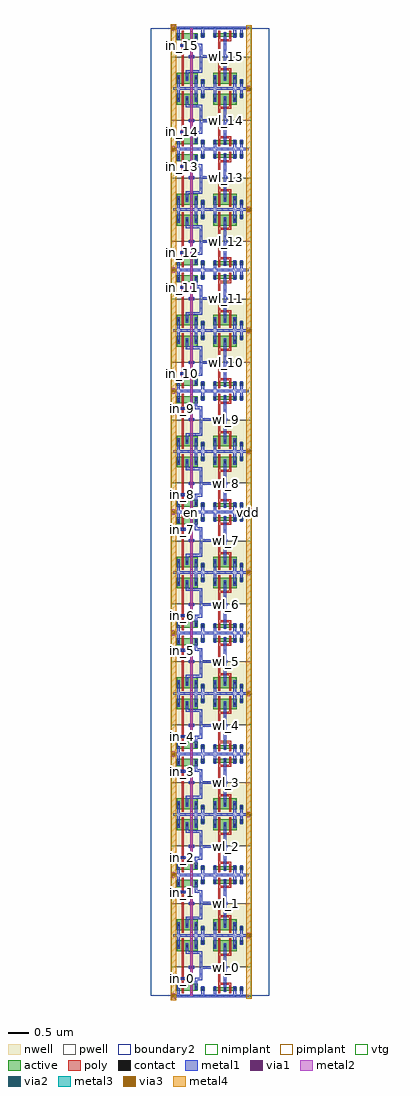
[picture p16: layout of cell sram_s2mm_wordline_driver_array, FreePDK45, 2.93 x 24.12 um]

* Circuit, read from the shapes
.subckt sram_s2mm_wordline_driver_array en gnd in_0 in_1 in_10 in_11 in_12 in_13 in_14 in_15 in_2 in_3 in_4 in_5 in_6 in_7 in_8 in_9 vdd wl_0 wl_1 wl_10 wl_11 wl_12 wl_13 wl_14 wl_15 wl_2 wl_3 wl_4 wl_5 wl_6 wl_7 wl_8 wl_9
M1 sram_s2mm_wordline_driver_0/sram_s2mm_pnand2_0/sram_s2mm_nmos_m1_w0_180_sm1_dactive_2/D in_0 gnd gnd nfet w=0.18u l=0.05u
M2 sram_s2mm_wordline_driver_1/sram_s2mm_pnand2_0/sram_s2mm_nmos_m1_w0_180_sm1_dactive_2/D in_1 gnd gnd nfet w=0.18u l=0.05u
M3 sram_s2mm_wordline_driver_2/sram_s2mm_pnand2_0/sram_s2mm_nmos_m1_w0_180_sm1_dactive_2/D in_2 gnd gnd nfet w=0.18u l=0.05u
M4 sram_s2mm_wordline_driver_3/sram_s2mm_pnand2_0/sram_s2mm_nmos_m1_w0_180_sm1_dactive_2/D in_3 gnd gnd nfet w=0.18u l=0.05u
M5 sram_s2mm_wordline_driver_4/sram_s2mm_pnand2_0/sram_s2mm_nmos_m1_w0_180_sm1_dactive_2/D in_4 gnd gnd nfet w=0.18u l=0.05u
M6 sram_s2mm_wordline_driver_5/sram_s2mm_pnand2_0/sram_s2mm_nmos_m1_w0_180_sm1_dactive_2/D in_5 gnd gnd nfet w=0.18u l=0.05u
M7 sram_s2mm_wordline_driver_6/sram_s2mm_pnand2_0/sram_s2mm_nmos_m1_w0_180_sm1_dactive_2/D in_6 gnd gnd nfet w=0.18u l=0.05u
M8 sram_s2mm_wordline_driver_7/sram_s2mm_pnand2_0/sram_s2mm_nmos_m1_w0_180_sm1_dactive_2/D in_7 gnd gnd nfet w=0.18u l=0.05u
M9 sram_s2mm_wordline_driver_8/sram_s2mm_pnand2_0/sram_s2mm_nmos_m1_w0_180_sm1_dactive_2/D in_8 gnd gnd nfet w=0.18u l=0.05u
M10 sram_s2mm_wordline_driver_9/sram_s2mm_pnand2_0/sram_s2mm_nmos_m1_w0_180_sm1_dactive_2/D in_9 gnd gnd nfet w=0.18u l=0.05u
M11 sram_s2mm_wordline_driver_10/sram_s2mm_pnand2_0/sram_s2mm_nmos_m1_w0_180_sm1_dactive_2/D in_10 gnd gnd nfet w=0.18u l=0.05u
M12 sram_s2mm_wordline_driver_11/sram_s2mm_pnand2_0/sram_s2mm_nmos_m1_w0_180_sm1_dactive_2/D in_11 gnd gnd nfet w=0.18u l=0.05u
M13 sram_s2mm_wordline_driver_12/sram_s2mm_pnand2_0/sram_s2mm_nmos_m1_w0_180_sm1_dactive_2/D in_12 gnd gnd nfet w=0.18u l=0.05u
M14 sram_s2mm_wordline_driver_13/sram_s2mm_pnand2_0/sram_s2mm_nmos_m1_w0_180_sm1_dactive_2/D in_13 gnd gnd nfet w=0.18u l=0.05u
M15 sram_s2mm_wordline_driver_14/sram_s2mm_pnand2_0/sram_s2mm_nmos_m1_w0_180_sm1_dactive_2/D in_14 gnd gnd nfet w=0.18u l=0.05u
M16 sram_s2mm_wordline_driver_15/sram_s2mm_pnand2_0/sram_s2mm_nmos_m1_w0_180_sm1_dactive_2/D in_15 gnd gnd nfet w=0.18u l=0.05u
M17 sram_s2mm_wordline_driver_0/sram_s2mm_pinv_0_1/A en sram_s2mm_wordline_driver_0/sram_s2mm_pnand2_0/sram_s2mm_nmos_m1_w0_180_sm1_dactive_2/D gnd nfet w=0.18u l=0.05u
M18 sram_s2mm_wordline_driver_1/sram_s2mm_pinv_0_1/A en sram_s2mm_wordline_driver_1/sram_s2mm_pnand2_0/sram_s2mm_nmos_m1_w0_180_sm1_dactive_2/D gnd nfet w=0.18u l=0.05u
M19 sram_s2mm_wordline_driver_2/sram_s2mm_pinv_0_1/A en sram_s2mm_wordline_driver_2/sram_s2mm_pnand2_0/sram_s2mm_nmos_m1_w0_180_sm1_dactive_2/D gnd nfet w=0.18u l=0.05u
M20 sram_s2mm_wordline_driver_3/sram_s2mm_pinv_0_1/A en sram_s2mm_wordline_driver_3/sram_s2mm_pnand2_0/sram_s2mm_nmos_m1_w0_180_sm1_dactive_2/D gnd nfet w=0.18u l=0.05u
M21 sram_s2mm_wordline_driver_4/sram_s2mm_pinv_0_1/A en sram_s2mm_wordline_driver_4/sram_s2mm_pnand2_0/sram_s2mm_nmos_m1_w0_180_sm1_dactive_2/D gnd nfet w=0.18u l=0.05u
M22 sram_s2mm_wordline_driver_5/sram_s2mm_pinv_0_1/A en sram_s2mm_wordline_driver_5/sram_s2mm_pnand2_0/sram_s2mm_nmos_m1_w0_180_sm1_dactive_2/D gnd nfet w=0.18u l=0.05u
M23 sram_s2mm_wordline_driver_6/sram_s2mm_pinv_0_1/A en sram_s2mm_wordline_driver_6/sram_s2mm_pnand2_0/sram_s2mm_nmos_m1_w0_180_sm1_dactive_2/D gnd nfet w=0.18u l=0.05u
M24 sram_s2mm_wordline_driver_7/sram_s2mm_pinv_0_1/A en sram_s2mm_wordline_driver_7/sram_s2mm_pnand2_0/sram_s2mm_nmos_m1_w0_180_sm1_dactive_2/D gnd nfet w=0.18u l=0.05u
M25 sram_s2mm_wordline_driver_8/sram_s2mm_pinv_0_1/A en sram_s2mm_wordline_driver_8/sram_s2mm_pnand2_0/sram_s2mm_nmos_m1_w0_180_sm1_dactive_2/D gnd nfet w=0.18u l=0.05u
M26 sram_s2mm_wordline_driver_9/sram_s2mm_pinv_0_1/A en sram_s2mm_wordline_driver_9/sram_s2mm_pnand2_0/sram_s2mm_nmos_m1_w0_180_sm1_dactive_2/D gnd nfet w=0.18u l=0.05u
M27 sram_s2mm_wordline_driver_10/sram_s2mm_pinv_0_1/A en sram_s2mm_wordline_driver_10/sram_s2mm_pnand2_0/sram_s2mm_nmos_m1_w0_180_sm1_dactive_2/D gnd nfet w=0.18u l=0.05u
M28 sram_s2mm_wordline_driver_11/sram_s2mm_pinv_0_1/A en sram_s2mm_wordline_driver_11/sram_s2mm_pnand2_0/sram_s2mm_nmos_m1_w0_180_sm1_dactive_2/D gnd nfet w=0.18u l=0.05u
M29 sram_s2mm_wordline_driver_12/sram_s2mm_pinv_0_1/A en sram_s2mm_wordline_driver_12/sram_s2mm_pnand2_0/sram_s2mm_nmos_m1_w0_180_sm1_dactive_2/D gnd nfet w=0.18u l=0.05u
M30 sram_s2mm_wordline_driver_13/sram_s2mm_pinv_0_1/A en sram_s2mm_wordline_driver_13/sram_s2mm_pnand2_0/sram_s2mm_nmos_m1_w0_180_sm1_dactive_2/D gnd nfet w=0.18u l=0.05u
M31 sram_s2mm_wordline_driver_14/sram_s2mm_pinv_0_1/A en sram_s2mm_wordline_driver_14/sram_s2mm_pnand2_0/sram_s2mm_nmos_m1_w0_180_sm1_dactive_2/D gnd nfet w=0.18u l=0.05u
M32 sram_s2mm_wordline_driver_15/sram_s2mm_pinv_0_1/A en sram_s2mm_wordline_driver_15/sram_s2mm_pnand2_0/sram_s2mm_nmos_m1_w0_180_sm1_dactive_2/D gnd nfet w=0.18u l=0.05u
M33 wl_0 sram_s2mm_wordline_driver_0/sram_s2mm_pinv_0_1/A gnd gnd nfet w=0.09u l=0.05u m=2
M34 wl_1 sram_s2mm_wordline_driver_1/sram_s2mm_pinv_0_1/A gnd gnd nfet w=0.09u l=0.05u m=2
M35 wl_2 sram_s2mm_wordline_driver_2/sram_s2mm_pinv_0_1/A gnd gnd nfet w=0.09u l=0.05u m=2
M36 wl_3 sram_s2mm_wordline_driver_3/sram_s2mm_pinv_0_1/A gnd gnd nfet w=0.09u l=0.05u m=2
M37 wl_4 sram_s2mm_wordline_driver_4/sram_s2mm_pinv_0_1/A gnd gnd nfet w=0.09u l=0.05u m=2
M38 wl_5 sram_s2mm_wordline_driver_5/sram_s2mm_pinv_0_1/A gnd gnd nfet w=0.09u l=0.05u m=2
M39 wl_6 sram_s2mm_wordline_driver_6/sram_s2mm_pinv_0_1/A gnd gnd nfet w=0.09u l=0.05u m=2
M40 wl_7 sram_s2mm_wordline_driver_7/sram_s2mm_pinv_0_1/A gnd gnd nfet w=0.09u l=0.05u m=2
M41 wl_8 sram_s2mm_wordline_driver_8/sram_s2mm_pinv_0_1/A gnd gnd nfet w=0.09u l=0.05u m=2
M42 wl_9 sram_s2mm_wordline_driver_9/sram_s2mm_pinv_0_1/A gnd gnd nfet w=0.09u l=0.05u m=2
M43 wl_10 sram_s2mm_wordline_driver_10/sram_s2mm_pinv_0_1/A gnd gnd nfet w=0.09u l=0.05u m=2
M44 wl_11 sram_s2mm_wordline_driver_11/sram_s2mm_pinv_0_1/A gnd gnd nfet w=0.09u l=0.05u m=2
M45 wl_12 sram_s2mm_wordline_driver_12/sram_s2mm_pinv_0_1/A gnd gnd nfet w=0.09u l=0.05u m=2
M46 wl_13 sram_s2mm_wordline_driver_13/sram_s2mm_pinv_0_1/A gnd gnd nfet w=0.09u l=0.05u m=2
M47 wl_14 sram_s2mm_wordline_driver_14/sram_s2mm_pinv_0_1/A gnd gnd nfet w=0.09u l=0.05u m=2
M48 wl_15 sram_s2mm_wordline_driver_15/sram_s2mm_pinv_0_1/A gnd gnd nfet w=0.09u l=0.05u m=2
M49 sram_s2mm_wordline_driver_0/sram_s2mm_pinv_0_1/A in_0 vdd vdd pfet w=0.27u l=0.05u
M50 sram_s2mm_wordline_driver_1/sram_s2mm_pinv_0_1/A in_1 vdd vdd pfet w=0.27u l=0.05u
M51 sram_s2mm_wordline_driver_2/sram_s2mm_pinv_0_1/A in_2 vdd vdd pfet w=0.27u l=0.05u
M52 sram_s2mm_wordline_driver_3/sram_s2mm_pinv_0_1/A in_3 vdd vdd pfet w=0.27u l=0.05u
M53 sram_s2mm_wordline_driver_4/sram_s2mm_pinv_0_1/A in_4 vdd vdd pfet w=0.27u l=0.05u
M54 sram_s2mm_wordline_driver_5/sram_s2mm_pinv_0_1/A in_5 vdd vdd pfet w=0.27u l=0.05u
M55 sram_s2mm_wordline_driver_6/sram_s2mm_pinv_0_1/A in_6 vdd vdd pfet w=0.27u l=0.05u
M56 sram_s2mm_wordline_driver_7/sram_s2mm_pinv_0_1/A in_7 vdd vdd pfet w=0.27u l=0.05u
M57 sram_s2mm_wordline_driver_8/sram_s2mm_pinv_0_1/A in_8 vdd vdd pfet w=0.27u l=0.05u
M58 sram_s2mm_wordline_driver_9/sram_s2mm_pinv_0_1/A in_9 vdd vdd pfet w=0.27u l=0.05u
M59 sram_s2mm_wordline_driver_10/sram_s2mm_pinv_0_1/A in_10 vdd vdd pfet w=0.27u l=0.05u
M60 sram_s2mm_wordline_driver_11/sram_s2mm_pinv_0_1/A in_11 vdd vdd pfet w=0.27u l=0.05u
M61 sram_s2mm_wordline_driver_12/sram_s2mm_pinv_0_1/A in_12 vdd vdd pfet w=0.27u l=0.05u
M62 sram_s2mm_wordline_driver_13/sram_s2mm_pinv_0_1/A in_13 vdd vdd pfet w=0.27u l=0.05u
M63 sram_s2mm_wordline_driver_14/sram_s2mm_pinv_0_1/A in_14 vdd vdd pfet w=0.27u l=0.05u
M64 sram_s2mm_wordline_driver_15/sram_s2mm_pinv_0_1/A in_15 vdd vdd pfet w=0.27u l=0.05u
M65 vdd en sram_s2mm_wordline_driver_0/sram_s2mm_pinv_0_1/A vdd pfet w=0.27u l=0.05u
M66 vdd en sram_s2mm_wordline_driver_1/sram_s2mm_pinv_0_1/A vdd pfet w=0.27u l=0.05u
M67 vdd en sram_s2mm_wordline_driver_2/sram_s2mm_pinv_0_1/A vdd pfet w=0.27u l=0.05u
M68 vdd en sram_s2mm_wordline_driver_3/sram_s2mm_pinv_0_1/A vdd pfet w=0.27u l=0.05u
M69 vdd en sram_s2mm_wordline_driver_4/sram_s2mm_pinv_0_1/A vdd pfet w=0.27u l=0.05u
M70 vdd en sram_s2mm_wordline_driver_5/sram_s2mm_pinv_0_1/A vdd pfet w=0.27u l=0.05u
M71 vdd en sram_s2mm_wordline_driver_6/sram_s2mm_pinv_0_1/A vdd pfet w=0.27u l=0.05u
M72 vdd en sram_s2mm_wordline_driver_7/sram_s2mm_pinv_0_1/A vdd pfet w=0.27u l=0.05u
M73 vdd en sram_s2mm_wordline_driver_8/sram_s2mm_pinv_0_1/A vdd pfet w=0.27u l=0.05u
M74 vdd en sram_s2mm_wordline_driver_9/sram_s2mm_pinv_0_1/A vdd pfet w=0.27u l=0.05u
M75 vdd en sram_s2mm_wordline_driver_10/sram_s2mm_pinv_0_1/A vdd pfet w=0.27u l=0.05u
M76 vdd en sram_s2mm_wordline_driver_11/sram_s2mm_pinv_0_1/A vdd pfet w=0.27u l=0.05u
M77 vdd en sram_s2mm_wordline_driver_12/sram_s2mm_pinv_0_1/A vdd pfet w=0.27u l=0.05u
M78 vdd en sram_s2mm_wordline_driver_13/sram_s2mm_pinv_0_1/A vdd pfet w=0.27u l=0.05u
M79 vdd en sram_s2mm_wordline_driver_14/sram_s2mm_pinv_0_1/A vdd pfet w=0.27u l=0.05u
M80 vdd en sram_s2mm_wordline_driver_15/sram_s2mm_pinv_0_1/A vdd pfet w=0.27u l=0.05u
M81 wl_0 sram_s2mm_wordline_driver_0/sram_s2mm_pinv_0_1/A vdd vdd pfet w=0.27u l=0.05u m=2
M82 wl_1 sram_s2mm_wordline_driver_1/sram_s2mm_pinv_0_1/A vdd vdd pfet w=0.27u l=0.05u m=2
M83 wl_2 sram_s2mm_wordline_driver_2/sram_s2mm_pinv_0_1/A vdd vdd pfet w=0.27u l=0.05u m=2
M84 wl_3 sram_s2mm_wordline_driver_3/sram_s2mm_pinv_0_1/A vdd vdd pfet w=0.27u l=0.05u m=2
M85 wl_4 sram_s2mm_wordline_driver_4/sram_s2mm_pinv_0_1/A vdd vdd pfet w=0.27u l=0.05u m=2
M86 wl_5 sram_s2mm_wordline_driver_5/sram_s2mm_pinv_0_1/A vdd vdd pfet w=0.27u l=0.05u m=2
M87 wl_6 sram_s2mm_wordline_driver_6/sram_s2mm_pinv_0_1/A vdd vdd pfet w=0.27u l=0.05u m=2
M88 wl_7 sram_s2mm_wordline_driver_7/sram_s2mm_pinv_0_1/A vdd vdd pfet w=0.27u l=0.05u m=2
M89 wl_8 sram_s2mm_wordline_driver_8/sram_s2mm_pinv_0_1/A vdd vdd pfet w=0.27u l=0.05u m=2
M90 wl_9 sram_s2mm_wordline_driver_9/sram_s2mm_pinv_0_1/A vdd vdd pfet w=0.27u l=0.05u m=2
M91 wl_10 sram_s2mm_wordline_driver_10/sram_s2mm_pinv_0_1/A vdd vdd pfet w=0.27u l=0.05u m=2
M92 wl_11 sram_s2mm_wordline_driver_11/sram_s2mm_pinv_0_1/A vdd vdd pfet w=0.27u l=0.05u m=2
M93 wl_12 sram_s2mm_wordline_driver_12/sram_s2mm_pinv_0_1/A vdd vdd pfet w=0.27u l=0.05u m=2
M94 wl_13 sram_s2mm_wordline_driver_13/sram_s2mm_pinv_0_1/A vdd vdd pfet w=0.27u l=0.05u m=2
M95 wl_14 sram_s2mm_wordline_driver_14/sram_s2mm_pinv_0_1/A vdd vdd pfet w=0.27u l=0.05u m=2
M96 wl_15 sram_s2mm_wordline_driver_15/sram_s2mm_pinv_0_1/A vdd vdd pfet w=0.27u l=0.05u m=2
.ends

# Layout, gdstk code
import gdstk
lib = gdstk.Library(unit=1e-6, precision=5e-10)
def R(c, l, rs):  # rectangles x0, y0, x1, y1
    for r in rs: c.add(gdstk.rectangle(r[:2], r[2:], *l))
def A(c, l, x, y, w, h, nx, ny, dx, dy):  # array of equal rectangles
    R(c, l, [(x+i*dx, y+j*dy, x+i*dx+w, y+j*dy+h) for i in range(nx) for j in range(ny)])
active = (1, 0)
pwell = (2, 0)
nwell = (3, 0)
nimplant = (4, 0)
pimplant = (5, 0)
vtg = (6, 0)
poly = (9, 0)
contact = (10, 0)
metal1 = (11, 0)
via1 = (12, 0)
metal2 = (13, 0)
via2 = (14, 0)
metal3 = (15, 0)
via3 = (16, 0)
metal4 = (17, 0)
boundary2 = (239, 0)

sram_s2mm_contact_11 = lib.new_cell('sram_s2mm_contact_11')
R(sram_s2mm_contact_11, active, [(0,0.0225,0.09,0.1125)])
R(sram_s2mm_contact_11, nwell, [(-0.055,-0.0325,0.145,0.1675)])
R(sram_s2mm_contact_11, pimplant, [(0,0.0225,0.09,0.1125)])
R(sram_s2mm_contact_11, contact, [(0.0125,0.035,0.0775,0.1)])
R(sram_s2mm_contact_11, metal1, [(0.0125,0,0.0775,0.135)])
R(sram_s2mm_contact_11, boundary2, [(-0.055,-0.0325,0.145,0.1675)])

sram_s2mm_pmos_m1_w0_270 = lib.new_cell('sram_s2mm_pmos_m1_w0_270_sm1_dm1')
R(sram_s2mm_pmos_m1_w0_270, active, [(0,0,0.305,0.27)])
R(sram_s2mm_pmos_m1_w0_270, nwell, [(-0.08,-0.08,0.385,0.35)])
R(sram_s2mm_pmos_m1_w0_270, pimplant, [(0,0,0.305,0.27)])
R(sram_s2mm_pmos_m1_w0_270, vtg, [(-0.08,-0.08,0.385,0.35)])
R(sram_s2mm_pmos_m1_w0_270, poly, [(0.1275,-0.055,0.1775,0.325), (0.1275,-0.055,0.1775,0.325)])
R(sram_s2mm_pmos_m1_w0_270, metal1, [(0.0125,0.0675,0.0775,0.2025), (0.2275,0.0675,0.2925,0.2025)])
R(sram_s2mm_pmos_m1_w0_270, boundary2, [(-0.08,-0.08,0.385,0.35)])
sram_s2mm_pmos_m1_w0_270.add(gdstk.Reference(sram_s2mm_contact_11, (0,0.0675)))
sram_s2mm_pmos_m1_w0_270.add(gdstk.Reference(sram_s2mm_contact_11, (0.215,0.0675)))
sram_s2mm_pmos_m1_w0_270.add(gdstk.Label('G', (0.1525,0.135), layer=9, texttype=0))
sram_s2mm_pmos_m1_w0_270.add(gdstk.Label('S', (0.045,0.135), layer=11, texttype=0))
sram_s2mm_pmos_m1_w0_270.add(gdstk.Label('D', (0.26,0.135), layer=11, texttype=0))

sram_s2mm_contact_10 = lib.new_cell('sram_s2mm_contact_10')
R(sram_s2mm_contact_10, active, [(0,0.0225,0.09,0.1125)])
R(sram_s2mm_contact_10, pwell, [(-0.055,-0.0325,0.145,0.1675)])
R(sram_s2mm_contact_10, nimplant, [(0,0.0225,0.09,0.1125)])
R(sram_s2mm_contact_10, contact, [(0.0125,0.035,0.0775,0.1)])
R(sram_s2mm_contact_10, metal1, [(0.0125,0,0.0775,0.135)])
R(sram_s2mm_contact_10, boundary2, [(-0.055,-0.0325,0.145,0.1675)])

sram_s2mm_nmos_m1_w0_180 = lib.new_cell('sram_s2mm_nmos_m1_w0_180_sm1_dactive')
R(sram_s2mm_nmos_m1_w0_180, active, [(0,0,0.305,0.18), (0.215,0.045,0.305,0.135)])
R(sram_s2mm_nmos_m1_w0_180, pwell, [(-0.08,-0.08,0.385,0.26)])
R(sram_s2mm_nmos_m1_w0_180, nimplant, [(0,0,0.305,0.18)])
R(sram_s2mm_nmos_m1_w0_180, vtg, [(-0.08,-0.08,0.385,0.26)])
R(sram_s2mm_nmos_m1_w0_180, poly, [(0.1275,-0.055,0.1775,0.235), (0.1275,-0.055,0.1775,0.235)])
R(sram_s2mm_nmos_m1_w0_180, metal1, [(0.0125,0.0225,0.0775,0.1575)])
R(sram_s2mm_nmos_m1_w0_180, boundary2, [(-0.08,-0.08,0.385,0.26)])
sram_s2mm_nmos_m1_w0_180.add(gdstk.Reference(sram_s2mm_contact_10, (0,0.0225)))
sram_s2mm_nmos_m1_w0_180.add(gdstk.Label('G', (0.1525,0.09), layer=9, texttype=0))
sram_s2mm_nmos_m1_w0_180.add(gdstk.Label('S', (0.045,0.09), layer=11, texttype=0))
sram_s2mm_nmos_m1_w0_180.add(gdstk.Label('D', (0.26,0.09), layer=1, texttype=0))

c_sram_s2mm_nmos_m1_w0_180 = lib.new_cell('sram_s2mm_nmos_m1_w0_180_sactive_dm1')
R(c_sram_s2mm_nmos_m1_w0_180, active, [(0,0,0.305,0.18), (0,0.045,0.09,0.135)])
R(c_sram_s2mm_nmos_m1_w0_180, pwell, [(-0.08,-0.08,0.385,0.26)])
R(c_sram_s2mm_nmos_m1_w0_180, nimplant, [(0,0,0.305,0.18)])
R(c_sram_s2mm_nmos_m1_w0_180, vtg, [(-0.08,-0.08,0.385,0.26)])
R(c_sram_s2mm_nmos_m1_w0_180, poly, [(0.1275,-0.055,0.1775,0.235), (0.1275,-0.055,0.1775,0.235)])
R(c_sram_s2mm_nmos_m1_w0_180, metal1, [(0.2275,0.0225,0.2925,0.1575)])
R(c_sram_s2mm_nmos_m1_w0_180, boundary2, [(-0.08,-0.08,0.385,0.26)])
c_sram_s2mm_nmos_m1_w0_180.add(gdstk.Reference(sram_s2mm_contact_10, (0.215,0.0225)))
c_sram_s2mm_nmos_m1_w0_180.add(gdstk.Label('G', (0.1525,0.09), layer=9, texttype=0))
c_sram_s2mm_nmos_m1_w0_180.add(gdstk.Label('S', (0.045,0.09), layer=1, texttype=0))
c_sram_s2mm_nmos_m1_w0_180.add(gdstk.Label('D', (0.26,0.09), layer=11, texttype=0))

sram_s2mm_contact_12 = lib.new_cell('sram_s2mm_contact_12')
R(sram_s2mm_contact_12, active, [(0,0.0225,0.09,0.1125)])
R(sram_s2mm_contact_12, nwell, [(-0.055,-0.0325,0.145,0.1675)])
R(sram_s2mm_contact_12, nimplant, [(0,0.0225,0.09,0.1125)])
R(sram_s2mm_contact_12, contact, [(0.0125,0.035,0.0775,0.1)])
R(sram_s2mm_contact_12, metal1, [(0.0125,0,0.0775,0.135)])
R(sram_s2mm_contact_12, boundary2, [(-0.055,-0.0325,0.145,0.1675)])

sram_s2mm_contact_13 = lib.new_cell('sram_s2mm_contact_13')
R(sram_s2mm_contact_13, active, [(0,0.0225,0.09,0.1125)])
R(sram_s2mm_contact_13, pwell, [(-0.055,-0.0325,0.145,0.1675)])
R(sram_s2mm_contact_13, pimplant, [(0,0.0225,0.09,0.1125)])
R(sram_s2mm_contact_13, contact, [(0.0125,0.035,0.0775,0.1)])
R(sram_s2mm_contact_13, metal1, [(0.0125,0,0.0775,0.135)])
R(sram_s2mm_contact_13, boundary2, [(-0.055,-0.0325,0.145,0.1675)])

sram_s2mm_contact_14 = lib.new_cell('sram_s2mm_contact_14')
R(sram_s2mm_contact_14, poly, [(0.03,0,0.105,0.075)])
R(sram_s2mm_contact_14, contact, [(0.035,0.005,0.1,0.07)])
R(sram_s2mm_contact_14, metal1, [(0,0.005,0.135,0.07)])
R(sram_s2mm_contact_14, boundary2, [(0,0,0.135,0.075)])

sram_s2mm_pnand2 = lib.new_cell('sram_s2mm_pnand2')
R(sram_s2mm_pnand2, pwell, [(-0.055,-0.0325,0.9575,0.7175)])
R(sram_s2mm_pnand2, nwell, [(-0.055,0.7175,0.9575,1.53)])
R(sram_s2mm_pnand2, vtg, [(-0.055,-0.0325,0.9575,0.7175), (-0.055,0.7175,0.9575,1.53)])
R(sram_s2mm_pnand2, poly, [(0.2075,0.36,0.2575,1.045), (0.4225,0.36,0.4725,1.045), (0.2075,0.39,0.2325,0.465), (0.4225,0.67,0.4475,0.745)])
R(sram_s2mm_pnand2, metal1, [(0,-0.0325,0.9025,0.0325), (0.0925,-0.0325,0.1575,0.1475), (0.6925,0,0.7575,0.17), (0.5225,0.2825,0.5875,0.4125), (0.5225,0.38,0.5875,0.445), (0.555,0.38,0.685,0.445), (0.6525,0.38,0.7175,0.445), (0.165,0.395,0.3,0.46), (0.6525,0.4125,0.7175,1.07), (0.38,0.675,0.515,0.74), (0.3075,1.0375,0.3725,1.1025), (0.34,1.0375,0.685,1.1025), (0.6525,1.0375,0.7175,1.1025), (0.3075,1.07,0.3725,1.1675), (0.0925,1.1675,0.1575,1.5275), (0.5225,1.1675,0.5875,1.5275), (0.6925,1.325,0.7575,1.495), (0,1.4625,0.9025,1.5275)])
R(sram_s2mm_pnand2, boundary2, [(0,0,0.9025,1.495), (0,0,0.9025,1.495)])
sram_s2mm_pnand2.add(gdstk.Reference(sram_s2mm_pmos_m1_w0_270, (0.08,1.1)))
sram_s2mm_pnand2.add(gdstk.Reference(sram_s2mm_pmos_m1_w0_270, (0.295,1.1)))
sram_s2mm_pnand2.add(gdstk.Reference(sram_s2mm_nmos_m1_w0_180, (0.08,0.125)))
sram_s2mm_pnand2.add(gdstk.Reference(c_sram_s2mm_nmos_m1_w0_180, (0.295,0.125)))
sram_s2mm_pnand2.add(gdstk.Reference(sram_s2mm_contact_12, (0.68,1.2575)))
sram_s2mm_pnand2.add(gdstk.Reference(sram_s2mm_contact_13, (0.68,0.1025)))
sram_s2mm_pnand2.add(gdstk.Reference(sram_s2mm_contact_14, (0.165,0.39)))
sram_s2mm_pnand2.add(gdstk.Reference(sram_s2mm_contact_14, (0.38,0.67)))
sram_s2mm_pnand2.add(gdstk.Label('Z', (0.685,1.07), layer=11, texttype=0))
sram_s2mm_pnand2.add(gdstk.Label('gnd', (0.451,0), layer=11, texttype=0))
sram_s2mm_pnand2.add(gdstk.Label('vdd', (0.451,1.495), layer=11, texttype=0))
sram_s2mm_pnand2.add(gdstk.Label('A', (0.2325,0.4275), layer=11, texttype=0))
sram_s2mm_pnand2.add(gdstk.Label('B', (0.4475,0.7075), layer=11, texttype=0))

sram_s2mm_pmos_m2_w0_270 = lib.new_cell('sram_s2mm_pmos_m2_w0_270_sm1_dm1_da_p')
R(sram_s2mm_pmos_m2_w0_270, active, [(0,0,0.58,0.27)])
R(sram_s2mm_pmos_m2_w0_270, nwell, [(-0.08,-0.08,0.66,0.35)])
R(sram_s2mm_pmos_m2_w0_270, pimplant, [(0,0,0.58,0.27)])
R(sram_s2mm_pmos_m2_w0_270, vtg, [(-0.08,-0.08,0.66,0.35)])
R(sram_s2mm_pmos_m2_w0_270, poly, [(0.1275,-0.105,0.4525,-0.055), (0.1275,-0.055,0.1775,0.325), (0.4025,-0.055,0.4525,0.325)])
A(sram_s2mm_pmos_m2_w0_270, metal1, 0.0125, 0.0675, 0.065, 0.135, 3, 1, 0.245, 0)
R(sram_s2mm_pmos_m2_w0_270, boundary2, [(-0.08,-0.105,0.66,0.35)])
sram_s2mm_pmos_m2_w0_270.add(gdstk.Reference(sram_s2mm_contact_11, (0,0.0675)))
sram_s2mm_pmos_m2_w0_270.add(gdstk.Reference(sram_s2mm_contact_11, (0.245,0.0675)))
sram_s2mm_pmos_m2_w0_270.add(gdstk.Reference(sram_s2mm_contact_11, (0.49,0.0675)))
sram_s2mm_pmos_m2_w0_270.add(gdstk.Label('G', (0.29,-0.08), layer=9, texttype=0))
sram_s2mm_pmos_m2_w0_270.add(gdstk.Label('S', (0.535,0.135), layer=11, texttype=0))
sram_s2mm_pmos_m2_w0_270.add(gdstk.Label('S', (0.045,0.135), layer=11, texttype=0))
sram_s2mm_pmos_m2_w0_270.add(gdstk.Label('D', (0.29,0.135), layer=11, texttype=0))

sram_s2mm_nmos_m2_w0_090 = lib.new_cell('sram_s2mm_nmos_m2_w0_090_sm1_dm1_da_p')
R(sram_s2mm_nmos_m2_w0_090, active, [(0,0,0.58,0.09)])
R(sram_s2mm_nmos_m2_w0_090, pwell, [(-0.08,-0.08,0.66,0.17)])
R(sram_s2mm_nmos_m2_w0_090, nimplant, [(0,0,0.58,0.09)])
R(sram_s2mm_nmos_m2_w0_090, vtg, [(-0.08,-0.08,0.66,0.17)])
R(sram_s2mm_nmos_m2_w0_090, poly, [(0.1275,-0.055,0.1775,0.145), (0.4025,-0.055,0.4525,0.145), (0.1275,0.145,0.4525,0.195)])
A(sram_s2mm_nmos_m2_w0_090, metal1, 0.0125, -0.0225, 0.065, 0.135, 3, 1, 0.245, 0)
R(sram_s2mm_nmos_m2_w0_090, boundary2, [(-0.08,-0.08,0.66,0.195)])
sram_s2mm_nmos_m2_w0_090.add(gdstk.Reference(sram_s2mm_contact_10, (0,-0.0225)))
sram_s2mm_nmos_m2_w0_090.add(gdstk.Reference(sram_s2mm_contact_10, (0.245,-0.0225)))
sram_s2mm_nmos_m2_w0_090.add(gdstk.Reference(sram_s2mm_contact_10, (0.49,-0.0225)))
sram_s2mm_nmos_m2_w0_090.add(gdstk.Label('G', (0.29,0.17), layer=9, texttype=0))
sram_s2mm_nmos_m2_w0_090.add(gdstk.Label('S', (0.535,0.045), layer=11, texttype=0))
sram_s2mm_nmos_m2_w0_090.add(gdstk.Label('S', (0.045,0.045), layer=11, texttype=0))
sram_s2mm_nmos_m2_w0_090.add(gdstk.Label('D', (0.29,0.045), layer=11, texttype=0))

sram_s2mm_pinv_0 = lib.new_cell('sram_s2mm_pinv_0')
R(sram_s2mm_pinv_0, pwell, [(-0.055,-0.0325,1.0175,0.7175)])
R(sram_s2mm_pinv_0, nwell, [(-0.055,0.7175,1.0175,1.53)])
R(sram_s2mm_pinv_0, vtg, [(-0.055,-0.0325,1.0175,0.7175), (-0.055,0.7175,1.0175,1.53)])
R(sram_s2mm_pinv_0, poly, [(0.2075,0.32,0.2575,0.995), (0.14,0.665,0.2075,0.74)])
R(sram_s2mm_pinv_0, metal1, [(0,-0.0325,0.9625,0.0325), (0.0925,-0.0325,0.1575,0.1025), (0.5825,-0.0325,0.6475,0.1025), (0.7525,0,0.8175,0.17), (0.3375,0.1025,0.4025,1.3025), (0.0725,0.67,0.2075,0.735), (0.37,0.67,0.435,0.735), (0.0925,1.1675,0.1575,1.5275), (0.5825,1.1675,0.6475,1.5275), (0.7525,1.325,0.8175,1.495), (0,1.4625,0.9625,1.5275)])
R(sram_s2mm_pinv_0, boundary2, [(0,0,0.9625,1.495), (0,0,0.9625,1.495)])
sram_s2mm_pinv_0.add(gdstk.Reference(sram_s2mm_pmos_m2_w0_270, (0.08,1.1)))
sram_s2mm_pinv_0.add(gdstk.Reference(sram_s2mm_nmos_m2_w0_090, (0.08,0.125)))
sram_s2mm_pinv_0.add(gdstk.Reference(sram_s2mm_contact_12, (0.74,1.2575)))
sram_s2mm_pinv_0.add(gdstk.Reference(sram_s2mm_contact_13, (0.74,0.1025)))
sram_s2mm_pinv_0.add(gdstk.Reference(sram_s2mm_contact_14, (0.0725,0.665)))
sram_s2mm_pinv_0.add(gdstk.Label('A', (0.14,0.7025), layer=11, texttype=0))
sram_s2mm_pinv_0.add(gdstk.Label('Z', (0.4025,0.7025), layer=11, texttype=0))
sram_s2mm_pinv_0.add(gdstk.Label('gnd', (0.481,0), layer=11, texttype=0))
sram_s2mm_pinv_0.add(gdstk.Label('vdd', (0.481,1.495), layer=11, texttype=0))

sram_s2mm_wordline_drive = lib.new_cell('sram_s2mm_wordline_driver')
R(sram_s2mm_wordline_drive, metal1, [(0,-0.0325,1.865,0.0325), (0.165,0.395,0.3,0.46), (0.6525,0.67,0.7175,0.735), (0.685,0.67,1.0425,0.735), (1.2725,0.67,1.3375,0.735), (0.38,0.675,0.515,0.74), (0.6525,0.7025,0.7175,1.07), (0,1.4625,1.865,1.5275)])
R(sram_s2mm_wordline_drive, boundary2, [(0,0,1.865,1.495)])
sram_s2mm_wordline_drive.add(gdstk.Reference(sram_s2mm_pnand2, (0,0)))
sram_s2mm_wordline_drive.add(gdstk.Reference(sram_s2mm_pinv_0, (0.9025,0)))
sram_s2mm_wordline_drive.add(gdstk.Label('Z', (1.305,0.7025), layer=11, texttype=0))
sram_s2mm_wordline_drive.add(gdstk.Label('A', (0.2325,0.4275), layer=11, texttype=0))
sram_s2mm_wordline_drive.add(gdstk.Label('B', (0.4475,0.7075), layer=11, texttype=0))
sram_s2mm_wordline_drive.add(gdstk.Label('gnd', (0.9325,0), layer=11, texttype=0))
sram_s2mm_wordline_drive.add(gdstk.Label('vdd', (0.9325,1.495), layer=11, texttype=0))

sram_s2mm_contact_17 = lib.new_cell('sram_s2mm_contact_17')
R(sram_s2mm_contact_17, metal1, [(0,0.035,0.135,0.1)])
R(sram_s2mm_contact_17, via1, [(0.035,0.035,0.1,0.1)])
R(sram_s2mm_contact_17, metal2, [(0.0325,0,0.1025,0.135)])
R(sram_s2mm_contact_17, boundary2, [(0,0,0.135,0.135)])

sram_s2mm_contact_18 = lib.new_cell('sram_s2mm_contact_18')
R(sram_s2mm_contact_18, metal2, [(0.0325,0,0.1025,0.135)])
R(sram_s2mm_contact_18, via2, [(0.035,0.035,0.1,0.1)])
R(sram_s2mm_contact_18, metal3, [(0,0.0325,0.135,0.1025)])
R(sram_s2mm_contact_18, boundary2, [(0,0,0.135,0.135)])

sram_s2mm_contact_21 = lib.new_cell('sram_s2mm_contact_21')
R(sram_s2mm_contact_21, metal3, [(0,0.035,0.14,0.105)])
R(sram_s2mm_contact_21, via3, [(0.035,0.035,0.105,0.105)])
R(sram_s2mm_contact_21, metal4, [(0,0,0.14,0.14)])
R(sram_s2mm_contact_21, boundary2, [(0,0,0.14,0.14)])

c_sram_s2mm_wordline_drive = lib.new_cell('sram_s2mm_wordline_driver_array')
R(c_sram_s2mm_wordline_drive, metal1, [(0.725,0.395,0.86,0.46), (1.8325,0.67,1.8975,0.735), (1.8325,2.255,1.8975,2.32), (0.725,2.53,0.86,2.595), (0.725,3.385,0.86,3.45), (1.8325,3.66,1.8975,3.725), (1.8325,5.245,1.8975,5.31), (0.725,5.52,0.86,5.585), (0.725,6.375,0.86,6.44), (1.8325,6.65,1.8975,6.715), (1.8325,8.235,1.8975,8.3), (0.725,8.51,0.86,8.575), (0.725,9.365,0.86,9.43), (1.8325,9.64,1.8975,9.705), (1.8325,11.225,1.8975,11.29), (0.725,11.5,0.86,11.565), (0.725,12.355,0.86,12.42), (1.8325,12.63,1.8975,12.695), (1.8325,14.215,1.8975,14.28), (0.725,14.49,0.86,14.555), (0.725,15.345,0.86,15.41), (1.8325,15.62,1.8975,15.685), (1.8325,17.205,1.8975,17.27), (0.725,17.48,0.86,17.545), (0.725,18.335,0.86,18.4), (1.8325,18.61,1.8975,18.675), (1.8325,20.195,1.8975,20.26), (0.725,20.47,0.86,20.535), (0.725,21.325,0.86,21.39), (1.8325,21.6,1.8975,21.665), (1.8325,23.185,1.8975,23.25), (0.725,23.46,0.86,23.525)])
R(c_sram_s2mm_wordline_drive, metal2, [(0.9725,0,1.0425,23.92)])
R(c_sram_s2mm_wordline_drive, metal4, [(0.49,-0.1025,0.63,24.0225), (2.355,-0.07,2.495,23.99)])
R(c_sram_s2mm_wordline_drive, boundary2, [(0,0,2.93,23.92)])
c_sram_s2mm_wordline_drive.add(gdstk.Reference(sram_s2mm_wordline_drive, (0.56,0)))
c_sram_s2mm_wordline_drive.add(gdstk.Reference(sram_s2mm_wordline_drive, (0.56,2.99), x_reflection=True))
c_sram_s2mm_wordline_drive.add(gdstk.Reference(sram_s2mm_wordline_drive, (0.56,2.99)))
c_sram_s2mm_wordline_drive.add(gdstk.Reference(sram_s2mm_wordline_drive, (0.56,5.98), x_reflection=True))
c_sram_s2mm_wordline_drive.add(gdstk.Reference(sram_s2mm_wordline_drive, (0.56,5.98)))
c_sram_s2mm_wordline_drive.add(gdstk.Reference(sram_s2mm_wordline_drive, (0.56,8.97), x_reflection=True))
c_sram_s2mm_wordline_drive.add(gdstk.Reference(sram_s2mm_wordline_drive, (0.56,8.97)))
c_sram_s2mm_wordline_drive.add(gdstk.Reference(sram_s2mm_wordline_drive, (0.56,11.96), x_reflection=True))
c_sram_s2mm_wordline_drive.add(gdstk.Reference(sram_s2mm_wordline_drive, (0.56,11.96)))
c_sram_s2mm_wordline_drive.add(gdstk.Reference(sram_s2mm_wordline_drive, (0.56,14.95), x_reflection=True))
c_sram_s2mm_wordline_drive.add(gdstk.Reference(sram_s2mm_wordline_drive, (0.56,14.95)))
c_sram_s2mm_wordline_drive.add(gdstk.Reference(sram_s2mm_wordline_drive, (0.56,17.94), x_reflection=True))
c_sram_s2mm_wordline_drive.add(gdstk.Reference(sram_s2mm_wordline_drive, (0.56,17.94)))
c_sram_s2mm_wordline_drive.add(gdstk.Reference(sram_s2mm_wordline_drive, (0.56,20.93), x_reflection=True))
c_sram_s2mm_wordline_drive.add(gdstk.Reference(sram_s2mm_wordline_drive, (0.56,20.93)))
c_sram_s2mm_wordline_drive.add(gdstk.Reference(sram_s2mm_wordline_drive, (0.56,23.92), x_reflection=True))
c_sram_s2mm_wordline_drive.add(gdstk.Reference(sram_s2mm_contact_17, (0.94,0.64)))
c_sram_s2mm_wordline_drive.add(gdstk.Reference(sram_s2mm_contact_17, (0.94,2.215)))
c_sram_s2mm_wordline_drive.add(gdstk.Reference(sram_s2mm_contact_17, (0.94,3.63)))
c_sram_s2mm_wordline_drive.add(gdstk.Reference(sram_s2mm_contact_17, (0.94,5.205)))
c_sram_s2mm_wordline_drive.add(gdstk.Reference(sram_s2mm_contact_17, (0.94,6.62)))
c_sram_s2mm_wordline_drive.add(gdstk.Reference(sram_s2mm_contact_17, (0.94,8.195)))
c_sram_s2mm_wordline_drive.add(gdstk.Reference(sram_s2mm_contact_17, (0.94,9.61)))
c_sram_s2mm_wordline_drive.add(gdstk.Reference(sram_s2mm_contact_17, (0.94,11.185)))
c_sram_s2mm_wordline_drive.add(gdstk.Reference(sram_s2mm_contact_17, (0.94,12.6)))
c_sram_s2mm_wordline_drive.add(gdstk.Reference(sram_s2mm_contact_17, (0.94,14.175)))
c_sram_s2mm_wordline_drive.add(gdstk.Reference(sram_s2mm_contact_17, (0.94,15.59)))
c_sram_s2mm_wordline_drive.add(gdstk.Reference(sram_s2mm_contact_17, (0.94,17.165)))
c_sram_s2mm_wordline_drive.add(gdstk.Reference(sram_s2mm_contact_17, (0.94,18.58)))
c_sram_s2mm_wordline_drive.add(gdstk.Reference(sram_s2mm_contact_17, (0.94,20.155)))
c_sram_s2mm_wordline_drive.add(gdstk.Reference(sram_s2mm_contact_17, (0.94,21.57)))
c_sram_s2mm_wordline_drive.add(gdstk.Reference(sram_s2mm_contact_17, (0.94,23.145)))
c_sram_s2mm_wordline_drive.add(gdstk.Reference(sram_s2mm_contact_17, (2.3575,1.4275)))
c_sram_s2mm_wordline_drive.add(gdstk.Reference(sram_s2mm_contact_18, (2.3575,1.4275)))
c_sram_s2mm_wordline_drive.add(gdstk.Reference(sram_s2mm_contact_21, (2.355,1.425)))
c_sram_s2mm_wordline_drive.add(gdstk.Reference(sram_s2mm_contact_17, (2.3575,1.4275)))
c_sram_s2mm_wordline_drive.add(gdstk.Reference(sram_s2mm_contact_18, (2.3575,1.4275)))
c_sram_s2mm_wordline_drive.add(gdstk.Reference(sram_s2mm_contact_21, (2.355,1.425)))
c_sram_s2mm_wordline_drive.add(gdstk.Reference(sram_s2mm_contact_17, (2.3575,4.4175)))
c_sram_s2mm_wordline_drive.add(gdstk.Reference(sram_s2mm_contact_18, (2.3575,4.4175)))
c_sram_s2mm_wordline_drive.add(gdstk.Reference(sram_s2mm_contact_21, (2.355,4.415)))
c_sram_s2mm_wordline_drive.add(gdstk.Reference(sram_s2mm_contact_17, (2.3575,4.4175)))
c_sram_s2mm_wordline_drive.add(gdstk.Reference(sram_s2mm_contact_18, (2.3575,4.4175)))
c_sram_s2mm_wordline_drive.add(gdstk.Reference(sram_s2mm_contact_21, (2.355,4.415)))
c_sram_s2mm_wordline_drive.add(gdstk.Reference(sram_s2mm_contact_17, (2.3575,7.4075)))
c_sram_s2mm_wordline_drive.add(gdstk.Reference(sram_s2mm_contact_18, (2.3575,7.4075)))
c_sram_s2mm_wordline_drive.add(gdstk.Reference(sram_s2mm_contact_21, (2.355,7.405)))
c_sram_s2mm_wordline_drive.add(gdstk.Reference(sram_s2mm_contact_17, (2.3575,7.4075)))
c_sram_s2mm_wordline_drive.add(gdstk.Reference(sram_s2mm_contact_18, (2.3575,7.4075)))
c_sram_s2mm_wordline_drive.add(gdstk.Reference(sram_s2mm_contact_21, (2.355,7.405)))
c_sram_s2mm_wordline_drive.add(gdstk.Reference(sram_s2mm_contact_17, (2.3575,10.3975)))
c_sram_s2mm_wordline_drive.add(gdstk.Reference(sram_s2mm_contact_18, (2.3575,10.3975)))
c_sram_s2mm_wordline_drive.add(gdstk.Reference(sram_s2mm_contact_21, (2.355,10.395)))
c_sram_s2mm_wordline_drive.add(gdstk.Reference(sram_s2mm_contact_17, (2.3575,10.3975)))
c_sram_s2mm_wordline_drive.add(gdstk.Reference(sram_s2mm_contact_18, (2.3575,10.3975)))
c_sram_s2mm_wordline_drive.add(gdstk.Reference(sram_s2mm_contact_21, (2.355,10.395)))
c_sram_s2mm_wordline_drive.add(gdstk.Reference(sram_s2mm_contact_17, (2.3575,13.3875)))
c_sram_s2mm_wordline_drive.add(gdstk.Reference(sram_s2mm_contact_18, (2.3575,13.3875)))
c_sram_s2mm_wordline_drive.add(gdstk.Reference(sram_s2mm_contact_21, (2.355,13.385)))
c_sram_s2mm_wordline_drive.add(gdstk.Reference(sram_s2mm_contact_17, (2.3575,13.3875)))
c_sram_s2mm_wordline_drive.add(gdstk.Reference(sram_s2mm_contact_18, (2.3575,13.3875)))
c_sram_s2mm_wordline_drive.add(gdstk.Reference(sram_s2mm_contact_21, (2.355,13.385)))
c_sram_s2mm_wordline_drive.add(gdstk.Reference(sram_s2mm_contact_17, (2.3575,16.3775)))
c_sram_s2mm_wordline_drive.add(gdstk.Reference(sram_s2mm_contact_18, (2.3575,16.3775)))
c_sram_s2mm_wordline_drive.add(gdstk.Reference(sram_s2mm_contact_21, (2.355,16.375)))
c_sram_s2mm_wordline_drive.add(gdstk.Reference(sram_s2mm_contact_17, (2.3575,16.3775)))
c_sram_s2mm_wordline_drive.add(gdstk.Reference(sram_s2mm_contact_18, (2.3575,16.3775)))
c_sram_s2mm_wordline_drive.add(gdstk.Reference(sram_s2mm_contact_21, (2.355,16.375)))
c_sram_s2mm_wordline_drive.add(gdstk.Reference(sram_s2mm_contact_17, (2.3575,19.3675)))
c_sram_s2mm_wordline_drive.add(gdstk.Reference(sram_s2mm_contact_18, (2.3575,19.3675)))
c_sram_s2mm_wordline_drive.add(gdstk.Reference(sram_s2mm_contact_21, (2.355,19.365)))
c_sram_s2mm_wordline_drive.add(gdstk.Reference(sram_s2mm_contact_17, (2.3575,19.3675)))
c_sram_s2mm_wordline_drive.add(gdstk.Reference(sram_s2mm_contact_18, (2.3575,19.3675)))
c_sram_s2mm_wordline_drive.add(gdstk.Reference(sram_s2mm_contact_21, (2.355,19.365)))
c_sram_s2mm_wordline_drive.add(gdstk.Reference(sram_s2mm_contact_17, (2.3575,22.3575)))
c_sram_s2mm_wordline_drive.add(gdstk.Reference(sram_s2mm_contact_18, (2.3575,22.3575)))
c_sram_s2mm_wordline_drive.add(gdstk.Reference(sram_s2mm_contact_21, (2.355,22.355)))
c_sram_s2mm_wordline_drive.add(gdstk.Reference(sram_s2mm_contact_17, (2.3575,22.3575)))
c_sram_s2mm_wordline_drive.add(gdstk.Reference(sram_s2mm_contact_18, (2.3575,22.3575)))
c_sram_s2mm_wordline_drive.add(gdstk.Reference(sram_s2mm_contact_21, (2.355,22.355)))
c_sram_s2mm_wordline_drive.add(gdstk.Reference(sram_s2mm_contact_17, (0.4925,-0.0675)))
c_sram_s2mm_wordline_drive.add(gdstk.Reference(sram_s2mm_contact_18, (0.4925,-0.0675)))
c_sram_s2mm_wordline_drive.add(gdstk.Reference(sram_s2mm_contact_21, (0.49,-0.07)))
c_sram_s2mm_wordline_drive.add(gdstk.Reference(sram_s2mm_contact_17, (0.4925,2.9225)))
c_sram_s2mm_wordline_drive.add(gdstk.Reference(sram_s2mm_contact_18, (0.4925,2.9225)))
c_sram_s2mm_wordline_drive.add(gdstk.Reference(sram_s2mm_contact_21, (0.49,2.92)))
c_sram_s2mm_wordline_drive.add(gdstk.Reference(sram_s2mm_contact_17, (0.4925,2.9225)))
c_sram_s2mm_wordline_drive.add(gdstk.Reference(sram_s2mm_contact_18, (0.4925,2.9225)))
c_sram_s2mm_wordline_drive.add(gdstk.Reference(sram_s2mm_contact_21, (0.49,2.92)))
c_sram_s2mm_wordline_drive.add(gdstk.Reference(sram_s2mm_contact_17, (0.4925,5.9125)))
c_sram_s2mm_wordline_drive.add(gdstk.Reference(sram_s2mm_contact_18, (0.4925,5.9125)))
c_sram_s2mm_wordline_drive.add(gdstk.Reference(sram_s2mm_contact_21, (0.49,5.91)))
c_sram_s2mm_wordline_drive.add(gdstk.Reference(sram_s2mm_contact_17, (0.4925,5.9125)))
c_sram_s2mm_wordline_drive.add(gdstk.Reference(sram_s2mm_contact_18, (0.4925,5.9125)))
c_sram_s2mm_wordline_drive.add(gdstk.Reference(sram_s2mm_contact_21, (0.49,5.91)))
c_sram_s2mm_wordline_drive.add(gdstk.Reference(sram_s2mm_contact_17, (0.4925,8.9025)))
c_sram_s2mm_wordline_drive.add(gdstk.Reference(sram_s2mm_contact_18, (0.4925,8.9025)))
c_sram_s2mm_wordline_drive.add(gdstk.Reference(sram_s2mm_contact_21, (0.49,8.9)))
c_sram_s2mm_wordline_drive.add(gdstk.Reference(sram_s2mm_contact_17, (0.4925,8.9025)))
c_sram_s2mm_wordline_drive.add(gdstk.Reference(sram_s2mm_contact_18, (0.4925,8.9025)))
c_sram_s2mm_wordline_drive.add(gdstk.Reference(sram_s2mm_contact_21, (0.49,8.9)))
c_sram_s2mm_wordline_drive.add(gdstk.Reference(sram_s2mm_contact_17, (0.4925,11.8925)))
c_sram_s2mm_wordline_drive.add(gdstk.Reference(sram_s2mm_contact_18, (0.4925,11.8925)))
c_sram_s2mm_wordline_drive.add(gdstk.Reference(sram_s2mm_contact_21, (0.49,11.89)))
c_sram_s2mm_wordline_drive.add(gdstk.Reference(sram_s2mm_contact_17, (0.4925,11.8925)))
c_sram_s2mm_wordline_drive.add(gdstk.Reference(sram_s2mm_contact_18, (0.4925,11.8925)))
c_sram_s2mm_wordline_drive.add(gdstk.Reference(sram_s2mm_contact_21, (0.49,11.89)))
c_sram_s2mm_wordline_drive.add(gdstk.Reference(sram_s2mm_contact_17, (0.4925,14.8825)))
c_sram_s2mm_wordline_drive.add(gdstk.Reference(sram_s2mm_contact_18, (0.4925,14.8825)))
c_sram_s2mm_wordline_drive.add(gdstk.Reference(sram_s2mm_contact_21, (0.49,14.88)))
c_sram_s2mm_wordline_drive.add(gdstk.Reference(sram_s2mm_contact_17, (0.4925,14.8825)))
c_sram_s2mm_wordline_drive.add(gdstk.Reference(sram_s2mm_contact_18, (0.4925,14.8825)))
c_sram_s2mm_wordline_drive.add(gdstk.Reference(sram_s2mm_contact_21, (0.49,14.88)))
c_sram_s2mm_wordline_drive.add(gdstk.Reference(sram_s2mm_contact_17, (0.4925,17.8725)))
c_sram_s2mm_wordline_drive.add(gdstk.Reference(sram_s2mm_contact_18, (0.4925,17.8725)))
c_sram_s2mm_wordline_drive.add(gdstk.Reference(sram_s2mm_contact_21, (0.49,17.87)))
c_sram_s2mm_wordline_drive.add(gdstk.Reference(sram_s2mm_contact_17, (0.4925,17.8725)))
c_sram_s2mm_wordline_drive.add(gdstk.Reference(sram_s2mm_contact_18, (0.4925,17.8725)))
c_sram_s2mm_wordline_drive.add(gdstk.Reference(sram_s2mm_contact_21, (0.49,17.87)))
c_sram_s2mm_wordline_drive.add(gdstk.Reference(sram_s2mm_contact_17, (0.4925,20.8625)))
c_sram_s2mm_wordline_drive.add(gdstk.Reference(sram_s2mm_contact_18, (0.4925,20.8625)))
c_sram_s2mm_wordline_drive.add(gdstk.Reference(sram_s2mm_contact_21, (0.49,20.86)))
c_sram_s2mm_wordline_drive.add(gdstk.Reference(sram_s2mm_contact_17, (0.4925,20.8625)))
c_sram_s2mm_wordline_drive.add(gdstk.Reference(sram_s2mm_contact_18, (0.4925,20.8625)))
c_sram_s2mm_wordline_drive.add(gdstk.Reference(sram_s2mm_contact_21, (0.49,20.86)))
c_sram_s2mm_wordline_drive.add(gdstk.Reference(sram_s2mm_contact_17, (0.4925,23.8525)))
c_sram_s2mm_wordline_drive.add(gdstk.Reference(sram_s2mm_contact_18, (0.4925,23.8525)))
c_sram_s2mm_wordline_drive.add(gdstk.Reference(sram_s2mm_contact_21, (0.49,23.85)))
c_sram_s2mm_wordline_drive.add(gdstk.Label('en', (1.0075,11.96), layer=13, texttype=0))
c_sram_s2mm_wordline_drive.add(gdstk.Label('in_0', (0.7925,0.4275), layer=11, texttype=0))
c_sram_s2mm_wordline_drive.add(gdstk.Label('wl_0', (1.865,0.7025), layer=11, texttype=0))
c_sram_s2mm_wordline_drive.add(gdstk.Label('in_1', (0.7925,2.5625), layer=11, texttype=0))
c_sram_s2mm_wordline_drive.add(gdstk.Label('wl_1', (1.865,2.2875), layer=11, texttype=0))
c_sram_s2mm_wordline_drive.add(gdstk.Label('in_2', (0.7925,3.4175), layer=11, texttype=0))
c_sram_s2mm_wordline_drive.add(gdstk.Label('wl_2', (1.865,3.6925), layer=11, texttype=0))
c_sram_s2mm_wordline_drive.add(gdstk.Label('in_3', (0.7925,5.5525), layer=11, texttype=0))
c_sram_s2mm_wordline_drive.add(gdstk.Label('wl_3', (1.865,5.2775), layer=11, texttype=0))
c_sram_s2mm_wordline_drive.add(gdstk.Label('in_4', (0.7925,6.4075), layer=11, texttype=0))
c_sram_s2mm_wordline_drive.add(gdstk.Label('wl_4', (1.865,6.6825), layer=11, texttype=0))
c_sram_s2mm_wordline_drive.add(gdstk.Label('in_5', (0.7925,8.5425), layer=11, texttype=0))
c_sram_s2mm_wordline_drive.add(gdstk.Label('wl_5', (1.865,8.2675), layer=11, texttype=0))
c_sram_s2mm_wordline_drive.add(gdstk.Label('in_6', (0.7925,9.3975), layer=11, texttype=0))
c_sram_s2mm_wordline_drive.add(gdstk.Label('wl_6', (1.865,9.6725), layer=11, texttype=0))
c_sram_s2mm_wordline_drive.add(gdstk.Label('in_7', (0.7925,11.5325), layer=11, texttype=0))
c_sram_s2mm_wordline_drive.add(gdstk.Label('wl_7', (1.865,11.2575), layer=11, texttype=0))
c_sram_s2mm_wordline_drive.add(gdstk.Label('in_8', (0.7925,12.3875), layer=11, texttype=0))
c_sram_s2mm_wordline_drive.add(gdstk.Label('wl_8', (1.865,12.6625), layer=11, texttype=0))
c_sram_s2mm_wordline_drive.add(gdstk.Label('in_9', (0.7925,14.5225), layer=11, texttype=0))
c_sram_s2mm_wordline_drive.add(gdstk.Label('wl_9', (1.865,14.2475), layer=11, texttype=0))
c_sram_s2mm_wordline_drive.add(gdstk.Label('in_10', (0.7925,15.3775), layer=11, texttype=0))
c_sram_s2mm_wordline_drive.add(gdstk.Label('wl_10', (1.865,15.6525), layer=11, texttype=0))
c_sram_s2mm_wordline_drive.add(gdstk.Label('in_11', (0.7925,17.5125), layer=11, texttype=0))
c_sram_s2mm_wordline_drive.add(gdstk.Label('wl_11', (1.865,17.2375), layer=11, texttype=0))
c_sram_s2mm_wordline_drive.add(gdstk.Label('in_12', (0.7925,18.3675), layer=11, texttype=0))
c_sram_s2mm_wordline_drive.add(gdstk.Label('wl_12', (1.865,18.6425), layer=11, texttype=0))
c_sram_s2mm_wordline_drive.add(gdstk.Label('in_13', (0.7925,20.5025), layer=11, texttype=0))
c_sram_s2mm_wordline_drive.add(gdstk.Label('wl_13', (1.865,20.2275), layer=11, texttype=0))
c_sram_s2mm_wordline_drive.add(gdstk.Label('in_14', (0.7925,21.3575), layer=11, texttype=0))
c_sram_s2mm_wordline_drive.add(gdstk.Label('wl_14', (1.865,21.6325), layer=11, texttype=0))
c_sram_s2mm_wordline_drive.add(gdstk.Label('in_15', (0.7925,23.4925), layer=11, texttype=0))
c_sram_s2mm_wordline_drive.add(gdstk.Label('wl_15', (1.865,23.2175), layer=11, texttype=0))
c_sram_s2mm_wordline_drive.add(gdstk.Label('vdd', (2.425,11.96), layer=17, texttype=0))
c_sram_s2mm_wordline_drive.add(gdstk.Label('gnd', (0.56,11.96), layer=17, texttype=0))

lib.write_gds('sram_s2mm_wordline_driver_array.gds')
